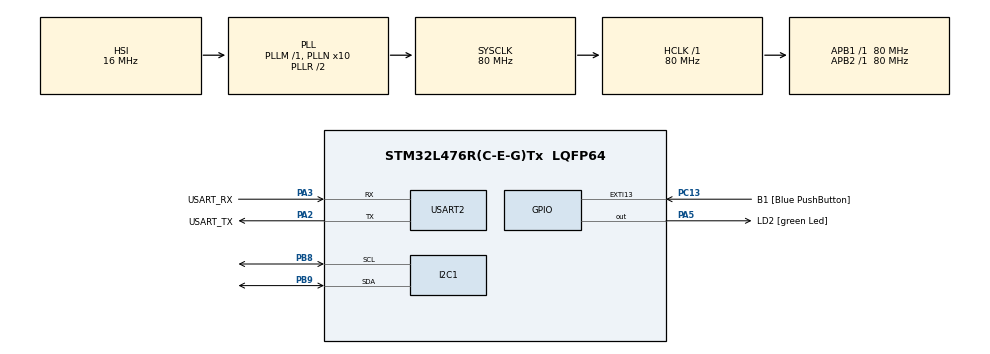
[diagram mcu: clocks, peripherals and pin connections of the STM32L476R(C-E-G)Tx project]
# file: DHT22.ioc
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I2C1.Timing=0x10909CEC
Mcu.Family=STM32L4
Mcu.Name=STM32L476R(C-E-G)Tx
Mcu.Package=LQFP64
NVIC.I2C1_ER_IRQn=true\:0\:0\:false\:false\:true\:true\:true
NVIC.I2C1_EV_IRQn=true\:0\:0\:false\:false\:true\:true\:true
NVIC.PriorityGroup=NVIC_PRIORITYGROUP_4
PA13\ (JTMS-SWDIO).GPIO_Label=TMS
PA13\ (JTMS-SWDIO).Mode=Serial_Wire
PA13\ (JTMS-SWDIO).Signal=SYS_JTMS-SWDIO
PA14\ (JTCK-SWCLK).GPIO_Label=TCK
PA14\ (JTCK-SWCLK).Mode=Serial_Wire
PA14\ (JTCK-SWCLK).Signal=SYS_JTCK-SWCLK
PA2.GPIO_Label=USART_TX
PA2.GPIO_Mode=GPIO_MODE_AF_PP
PA2.GPIO_PuPd=GPIO_NOPULL
PA2.GPIO_Speed=GPIO_SPEED_FREQ_VERY_HIGH
PA2.Mode=Asynchronous
PA2.Signal=USART2_TX
PA3.GPIO_Label=USART_RX
PA3.GPIO_Mode=GPIO_MODE_AF_PP
PA3.GPIO_PuPd=GPIO_NOPULL
PA3.GPIO_Speed=GPIO_SPEED_FREQ_VERY_HIGH
PA3.Mode=Asynchronous
PA3.Signal=USART2_RX
PA5.GPIO_Label=LD2 [green Led]
PA5.GPIO_ModeDefaultOutputPP=GPIO_MODE_OUTPUT_PP
PA5.GPIO_PuPd=GPIO_NOPULL
PA5.GPIO_Speed=GPIO_SPEED_FREQ_LOW
PA5.Signal=GPIO_Output
PB3\ (JTDO-TRACESWO).GPIO_Label=SWO
PB3\ (JTDO-TRACESWO).Signal=SYS_JTDO-SWO
PB8.GPIO_Pu=GPIO_PULLUP
PB8.Mode=I2C
PB8.Signal=I2C1_SCL
PB9.GPIO_Pu=GPIO_PULLUP
PB9.Mode=I2C
PB9.Signal=I2C1_SDA
PC13.GPIO_Label=B1 [Blue PushButton]
PC13.GPIO_ModeDefaultEXTI=GPIO_MODE_IT_FALLING
PC13.GPIO_PuPd=GPIO_NOPULL
PC13.Signal=GPXTI13
PC14-OSC32_IN\ (PC14).Signal=RCC_OSC32_IN
PC15-OSC32_OUT\ (PC15).Signal=RCC_OSC32_OUT
PH0-OSC_IN\ (PH0).Mode=HSE-External-Oscillator
PH0-OSC_IN\ (PH0).Signal=RCC_OSC_IN
PH1-OSC_OUT\ (PH1).Mode=HSE-External-Oscillator
PH1-OSC_OUT\ (PH1).Signal=RCC_OSC_OUT
ProjectManager.HeapSize=0x200
ProjectManager.StackSize=0x400
ProjectManager.TargetToolchain=STM32CubeIDE
RCC.ADCFreq_Value=64000000
RCC.AHBFreq_Value=80000000
RCC.APB1Freq_Value=80000000
RCC.APB1TimFreq_Value=80000000
RCC.APB2Freq_Value=80000000
RCC.APB2TimFreq_Value=80000000
RCC.CortexFreq_Value=80000000
RCC.HCLKFreq_Value=80000000
RCC.HSE_VALUE=8000000
RCC.HSI_VALUE=16000000
RCC.MSI_VALUE=4000000
RCC.PLLN=10
RCC.PLLSourceVirtual=RCC_PLLSOURCE_HSI
RCC.PREFETCH_ENABLE=1
RCC.SYSCLKFreq_VALUE=80000000
RCC.SYSCLKSource=RCC_SYSCLKSOURCE_PLLCLK
RCC.USBFreq_Value=64000000
RCC.VCOOutputFreq_Value=160000000
TIM2.Prescaler=80-1
USART2.VirtualMode-Asynchronous=VM_ASYNC
VP_TIM2_VS_ClockSourceINT.Mode=Internal
board=NUCLEO-L476RG

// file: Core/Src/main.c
/* USER CODE BEGIN Header */
/*
*/
/* USER CODE END Header */
#include <ht.h>
#include "main.h"

/* USER CODE BEGIN Includes */
#include "lib_lcd.h"
#include <stdio.h>
#include "timer.h" //pour associer le timer a des microsecondes
/* USER CODE END Includes */

/* USER CODE BEGIN PTD */
static rgb_lcd lcdData;
/* USER CODE END PTD */

I2C_HandleTypeDef hi2c1;

TIM_HandleTypeDef htim2;

UART_HandleTypeDef huart2;

void SystemClock_Config(void);
static void MX_GPIO_Init(void);
static void MX_USART2_UART_Init(void);
static void MX_I2C1_Init(void);
static void MX_TIM2_Init(void);

int main(void)
{
  /* USER CODE BEGIN 1 */

  int k = 0; //variable pour les bloucles while

  /* USER CODE END 1 */

  /* MCU Configuration--------------------------------------------------------*/

  /* Reset of all peripherals, Initializes the Flash interface and the Systick. */
  HAL_Init();

  /* Configure the system clock */
  SystemClock_Config();

  /* Initialize all configured peripherals */
  MX_GPIO_Init();
  MX_USART2_UART_Init();
  MX_I2C1_Init();
  MX_TIM2_Init();
  /* USER CODE BEGIN 2 */
  DWT_Delay_Init();
  lcd_init(&hi2c1, &lcdData); // Pour initialiser le lcd
  lcd_position(&hi2c1,0,0);
  lcd_print(&hi2c1,"On commence");
  reglagecouleur(0,0,255);
  HAL_Delay(3000);
  lcd_print(&hi2c1,"  la ");
   reglagecouleur(0,255,255);
  HAL_Delay(3000);
  lcd_print(&hi2c1,"  simulation ");
    reglagecouleur(0,255,255);
   HAL_Delay(3000);

  /* USER CODE END 2 */

  /* Infinite loop */
  while (1)
  {

    /* USER CODE BEGIN 3 */

	  /*On va debuter par la communication avec le capteur*/

	  HAL_Delay(3000);
	  Data_Output(GPIOA, GPIO_PIN_1); //Mettre le pin on output
	  HAL_GPIO_WritePin(GPIOA, GPIO_PIN_1, GPIO_PIN_RESET);//tirer vers le bas
	  DWT_Delay_us(1200); // attendre  > 1 ms
	  HAL_GPIO_WritePin(GPIOA, GPIO_PIN_1, GPIO_PIN_SET);//Tirer ka oin vers le haut
	  DWT_Delay_us(30); //attendre 30us
	  Data_Input(GPIOA, GPIO_PIN_1); //mettre le pin on input

	  /*On commande  la reception de donnees*/

	  while(!(HAL_GPIO_ReadPin(GPIOA, GPIO_PIN_1)));

	  for (k=0;k<1000;k++)
	  {
		  if (HAL_GPIO_ReadPin (GPIOA, GPIO_PIN_1) == GPIO_PIN_RESET)
		  {
	  	  	break;
	  	  }
	  }

	  while(!(HAL_GPIO_ReadPin(GPIOA, GPIO_PIN_1)));
	  DWT_Delay_us(40);

  }
  /* USER CODE END 3 */
}

void SystemClock_Config(void)
{
  RCC_OscInitTypeDef RCC_OscInitStruct = {0};
  RCC_ClkInitTypeDef RCC_ClkInitStruct = {0};

  /** Configure the main internal regulator output voltage
  */
  if (HAL_PWREx_ControlVoltageScaling(PWR_REGULATOR_VOLTAGE_SCALE1) != HAL_OK)
  {
    Error_Handler();
  }
  /** Initializes the RCC Oscillators according to the specified parameters
  * in the RCC_OscInitTypeDef structure.
  */
  RCC_OscInitStruct.OscillatorType = RCC_OSCILLATORTYPE_HSI;
  RCC_OscInitStruct.HSIState = RCC_HSI_ON;
  RCC_OscInitStruct.HSICalibrationValue = RCC_HSICALIBRATION_DEFAULT;
  RCC_OscInitStruct.PLL.PLLState = RCC_PLL_ON;
  RCC_OscInitStruct.PLL.PLLSource = RCC_PLLSOURCE_HSI;
  RCC_OscInitStruct.PLL.PLLM = 1;
  RCC_OscInitStruct.PLL.PLLN = 10;
  RCC_OscInitStruct.PLL.PLLP = RCC_PLLP_DIV7;
  RCC_OscInitStruct.PLL.PLLQ = RCC_PLLQ_DIV2;
  RCC_OscInitStruct.PLL.PLLR = RCC_PLLR_DIV2;
  if (HAL_RCC_OscConfig(&RCC_OscInitStruct) != HAL_OK)
  {
    Error_Handler();
  }
  /** Initializes the CPU, AHB and APB buses clocks
  */
  RCC_ClkInitStruct.ClockType = RCC_CLOCKTYPE_HCLK|RCC_CLOCKTYPE_SYSCLK
                              |RCC_CLOCKTYPE_PCLK1|RCC_CLOCKTYPE_PCLK2;
  RCC_ClkInitStruct.SYSCLKSource = RCC_SYSCLKSOURCE_PLLCLK;
  RCC_ClkInitStruct.AHBCLKDivider = RCC_SYSCLK_DIV1;
  RCC_ClkInitStruct.APB1CLKDivider = RCC_HCLK_DIV1;
  RCC_ClkInitStruct.APB2CLKDivider = RCC_HCLK_DIV1;

  if (HAL_RCC_ClockConfig(&RCC_ClkInitStruct, FLASH_LATENCY_4) != HAL_OK)
  {
    Error_Handler();
  }
}

static void MX_I2C1_Init(void)
{

  hi2c1.Instance = I2C1;
  hi2c1.Init.Timing = 0x10909CEC;
  hi2c1.Init.OwnAddress1 = 0;
  hi2c1.Init.AddressingMode = I2C_ADDRESSINGMODE_7BIT;
  hi2c1.Init.DualAddressMode = I2C_DUALADDRESS_DISABLE;
  hi2c1.Init.OwnAddress2 = 0;
  hi2c1.Init.OwnAddress2Masks = I2C_OA2_NOMASK;
  hi2c1.Init.GeneralCallMode = I2C_GENERALCALL_DISABLE;
  hi2c1.Init.NoStretchMode = I2C_NOSTRETCH_DISABLE;
  if (HAL_I2C_Init(&hi2c1) != HAL_OK)
  {
    Error_Handler();
  }
  /** Configure Analogue filter
  */
  if (HAL_I2CEx_ConfigAnalogFilter(&hi2c1, I2C_ANALOGFILTER_ENABLE) != HAL_OK)
  {
    Error_Handler();
  }
  /** Configure Digital filter
  */
  if (HAL_I2CEx_ConfigDigitalFilter(&hi2c1, 0) != HAL_OK)
  {
    Error_Handler();
  }

}

static void MX_TIM2_Init(void)
{

  TIM_ClockConfigTypeDef sClockSourceConfig = {0};
  TIM_MasterConfigTypeDef sMasterConfig = {0};

  htim2.Instance = TIM2;
  htim2.Init.Prescaler = 80-1;
  htim2.Init.CounterMode = TIM_COUNTERMODE_UP;
  htim2.Init.Period = 4294967295;
  htim2.Init.ClockDivision = TIM_CLOCKDIVISION_DIV1;
  htim2.Init.AutoReloadPreload = TIM_AUTORELOAD_PRELOAD_DISABLE;
  if (HAL_TIM_Base_Init(&htim2) != HAL_OK)
  {
    Error_Handler();
  }
  sClockSourceConfig.ClockSource = TIM_CLOCKSOURCE_INTERNAL;
  if (HAL_TIM_ConfigClockSource(&htim2, &sClockSourceConfig) != HAL_OK)
  {
    Error_Handler();
  }
  sMasterConfig.MasterOutputTrigger = TIM_TRGO_RESET;
  sMasterConfig.MasterSlaveMode = TIM_MASTERSLAVEMODE_DISABLE;
  if (HAL_TIMEx_MasterConfigSynchronization(&htim2, &sMasterConfig) != HAL_OK)
  {
    Error_Handler();
  }

}

static void MX_USART2_UART_Init(void)
{

  huart2.Instance = USART2;
  huart2.Init.BaudRate = 115200;
  huart2.Init.WordLength = UART_WORDLENGTH_8B;
  huart2.Init.StopBits = UART_STOPBITS_1;
  huart2.Init.Parity = UART_PARITY_NONE;
  huart2.Init.Mode = UART_MODE_TX_RX;
  huart2.Init.HwFlowCtl = UART_HWCONTROL_NONE;
  huart2.Init.OverSampling = UART_OVERSAMPLING_16;
  huart2.Init.OneBitSampling = UART_ONE_BIT_SAMPLE_DISABLE;
  huart2.AdvancedInit.AdvFeatureInit = UART_ADVFEATURE_NO_INIT;
  if (HAL_UART_Init(&huart2) != HAL_OK)
  {
    Error_Handler();
  }

}

static void MX_GPIO_Init(void)
{
  GPIO_InitTypeDef GPIO_InitStruct = {0};

  /* GPIO Ports Clock Enable */
  __HAL_RCC_GPIOC_CLK_ENABLE();
  __HAL_RCC_GPIOH_CLK_ENABLE();
  __HAL_RCC_GPIOA_CLK_ENABLE();
  __HAL_RCC_GPIOB_CLK_ENABLE();

  /*Configure GPIO pin Output Level */
  HAL_GPIO_WritePin(LD2_GPIO_Port, LD2_Pin, GPIO_PIN_RESET);

  /*Configure GPIO pin : B1_Pin */
  GPIO_InitStruct.Pin = B1_Pin;
  GPIO_InitStruct.Mode = GPIO_MODE_IT_FALLING;
  GPIO_InitStruct.Pull = GPIO_NOPULL;
  HAL_GPIO_Init(B1_GPIO_Port, &GPIO_InitStruct);

  /*Configure GPIO pin : LD2_Pin */
  GPIO_InitStruct.Pin = LD2_Pin;
  GPIO_InitStruct.Mode = GPIO_MODE_OUTPUT_PP;
  GPIO_InitStruct.Pull = GPIO_NOPULL;
  GPIO_InitStruct.Speed = GPIO_SPEED_FREQ_LOW;
  HAL_GPIO_Init(LD2_GPIO_Port, &GPIO_InitStruct);

}

void Error_Handler(void)
{
  __disable_irq();
  while (1)
  {
  }
}
